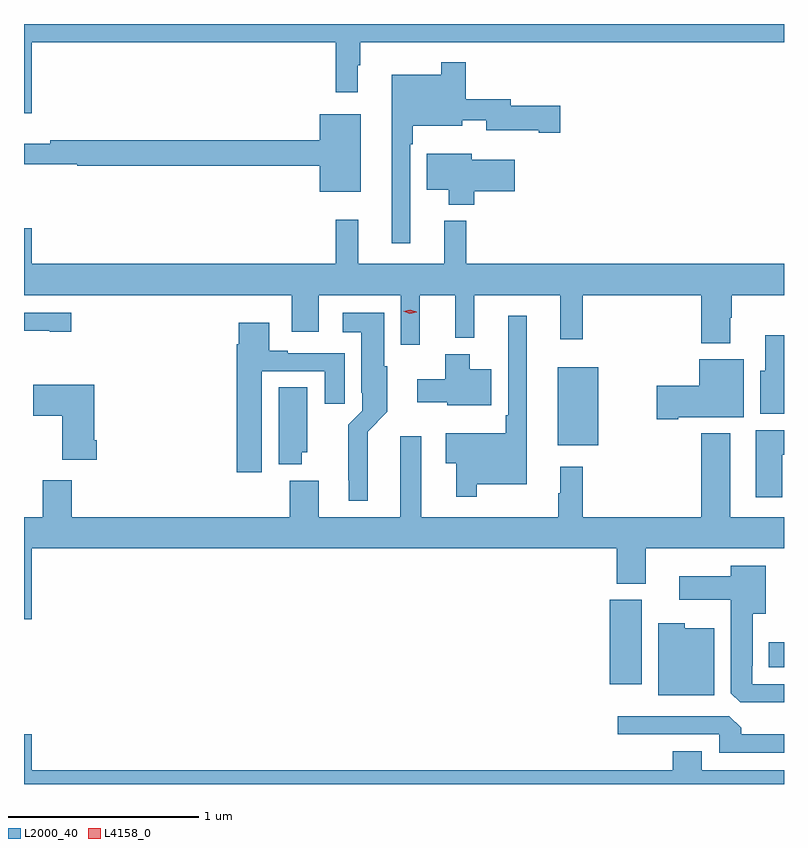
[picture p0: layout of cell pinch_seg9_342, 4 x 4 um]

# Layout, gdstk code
import gdstk
lib = gdstk.Library(unit=1e-6, precision=1e-09)
def R(c, l, rs):  # rectangles x0, y0, x1, y1
    for r in rs: c.add(gdstk.rectangle(r[:2], r[2:], *l))
def P(c, l, *ps):  # polygons
    for p in ps: c.add(gdstk.Polygon(p, *l))
L2000_40 = (2000, 40)
L4158_0 = (4158, 0)

pinch_seg9_342 = lib.new_cell('pinch_seg9_342')
R(pinch_seg9_342, L2000_40, [(587.795,1179.72,587.962,1180.164), (588.632,1179.809,588.711,1179.94), (587.519,1180.979,587.734,1181.389)])
P(pinch_seg9_342, L2000_40, [(588.711,1183.195),(584.711,1183.195),(584.711,1182.726),(584.752,1182.726),(584.752,1183.1),(586.351,1183.1),(586.351,1182.837),(586.468,1182.837),(586.468,1182.977),(586.48,1182.977),(586.48,1183.1),(588.711,1183.1)],
  [(586.743,1182.563),(586.756,1182.563),(586.756,1182.659),(587.017,1182.659),(587.017,1182.689),(587.144,1182.689),(587.144,1182.635),(587.42,1182.635),(587.42,1182.623),(587.533,1182.623),(587.533,1182.765),(587.272,1182.765),(587.272,1182.799),(587.036,1182.799),(587.036,1182.994),(586.908,1182.994),(586.908,1182.928),(586.646,1182.928),(586.646,1182.042),(586.743,1182.042)],
  [(586.483,1182.721),(586.268,1182.721),(586.268,1182.584),(584.848,1182.584),(584.848,1182.565),(584.711,1182.565),(584.711,1182.456),(584.99,1182.456),(584.99,1182.448),(586.268,1182.448),(586.268,1182.311),(586.483,1182.311)],
  [(587.081,1182.316),(587.293,1182.316),(587.293,1182.481),(587.068,1182.481),(587.068,1182.511),(586.832,1182.511),(586.832,1182.323),(586.946,1182.323),(586.946,1182.245),(587.081,1182.245)],
  [(586.793,1181.768),(586.982,1181.768),(586.982,1181.543),(587.081,1181.543),(587.081,1181.768),(587.534,1181.768),(587.534,1181.535),(587.651,1181.535),(587.651,1181.768),(588.275,1181.768),(588.275,1181.516),(588.427,1181.516),(588.427,1181.648),(588.435,1181.648),(588.435,1181.768),(588.711,1181.768),(588.711,1181.932),(587.039,1181.932),(587.039,1182.16),(586.922,1182.16),(586.922,1181.932),(586.469,1181.932),(586.469,1182.166),(586.351,1182.166),(586.351,1181.932),(584.752,1181.932),(584.752,1182.121),(584.711,1182.121),(584.711,1181.768),(586.121,1181.768),(586.121,1181.574),(586.261,1181.574),(586.261,1181.768),(586.695,1181.768),(586.695,1181.508),(586.793,1181.508)],
  [(584.959,1181.676),(584.711,1181.676),(584.711,1181.58),(584.846,1181.58),(584.846,1181.575),(584.959,1181.575)],
  [(586.519,1181.048),(586.624,1181.154),(586.624,1181.394),(586.606,1181.394),(586.606,1181.674),(586.389,1181.674),(586.389,1181.573),(586.487,1181.573),(586.487,1181.254),(586.491,1181.254),(586.491,1181.16),(586.417,1181.086),(586.417,1180.795),(586.421,1180.795),(586.421,1180.685),(586.519,1180.685)],
  [(587.095,1180.772),(587.356,1180.772),(587.356,1181.659),(587.259,1181.659),(587.259,1181.137),(587.247,1181.137),(587.247,1181.041),(586.932,1181.041),(586.932,1180.883),(586.985,1180.883),(586.985,1180.707),(587.095,1180.707)],
  [(585.961,1181.367),(586.295,1181.367),(586.295,1181.196),(586.399,1181.196),(586.399,1181.463),(586.099,1181.463),(586.099,1181.476),(586.003,1181.476),(586.003,1181.623),(585.842,1181.623),(585.842,1181.51),(585.83,1181.51),(585.83,1180.836),(585.961,1180.836)],
  [(588.711,1181.557),(588.611,1181.557),(588.611,1181.37),(588.587,1181.37),(588.587,1181.144),(588.711,1181.144)],
  [(587.17,1181.377),(587.056,1181.377),(587.056,1181.458),(586.927,1181.458),(586.927,1181.326),(586.782,1181.326),(586.782,1181.204),(586.938,1181.204),(586.938,1181.189),(587.17,1181.189)],
  [(588.154,1181.126),(588.499,1181.126),(588.499,1181.431),(588.266,1181.431),(588.266,1181.292),(588.042,1181.292),(588.042,1181.114),(588.154,1181.114)],
  [(585.095,1181.005),(585.082,1181.005),(585.082,1181.296),(584.76,1181.296),(584.76,1181.134),(584.912,1181.134),(584.912,1180.901),(585.095,1180.901)],
  [(586.174,1180.941),(586.201,1180.941),(586.201,1181.282),(586.052,1181.282),(586.052,1180.877),(586.174,1180.877)],
  [(588.703,1180.928),(588.711,1180.928),(588.711,1181.056),(588.563,1181.056),(588.563,1180.704),(588.703,1180.704)],
  [(584.752,1180.436),(587.831,1180.436),(587.831,1180.249),(587.983,1180.249),(587.983,1180.436),(588.711,1180.436),(588.711,1180.6),(588.427,1180.6),(588.427,1181.041),(588.275,1181.041),(588.275,1180.6),(587.651,1180.6),(587.651,1180.864),(587.534,1180.864),(587.534,1180.724),(587.523,1180.724),(587.523,1180.6),(586.801,1180.6),(586.801,1181.026),(586.691,1181.026),(586.691,1180.6),(586.261,1180.6),(586.261,1180.792),(586.109,1180.792),(586.109,1180.6),(584.963,1180.6),(584.963,1180.795),(584.81,1180.795),(584.81,1180.6),(584.711,1180.6),(584.711,1180.062),(584.752,1180.062)],
  [(588.711,1179.72),(588.543,1179.72),(588.543,1179.817),(588.547,1179.817),(588.547,1180.091),(588.616,1180.091),(588.616,1180.345),(588.431,1180.345),(588.431,1180.288),(588.159,1180.288),(588.159,1180.166),(588.431,1180.166),(588.431,1179.673),(588.48,1179.624),(588.711,1179.624)],
  [(588.343,1180.015),(588.189,1180.015),(588.189,1180.042),(588.05,1180.042),(588.05,1179.662),(588.343,1179.662)],
  [(588.711,1179.456),(588.485,1179.456),(588.485,1179.49),(588.423,1179.552),(587.835,1179.552),(587.835,1179.456),(588.369,1179.456),(588.369,1179.36),(588.711,1179.36)],
  [(584.752,1179.457),(584.711,1179.457),(584.711,1179.195),(588.711,1179.195),(588.711,1179.268),(588.277,1179.268),(588.277,1179.367),(588.125,1179.367),(588.125,1179.268),(584.752,1179.268)])
P(pinch_seg9_342, L4158_0, [(586.742,1181.671),(586.707,1181.682),(586.706,1181.682),(586.707,1181.682),(586.743,1181.691),(586.779,1181.68),(586.779,1181.679),(586.779,1181.679)])

lib.write_gds('pinch_seg9_342.gds')
